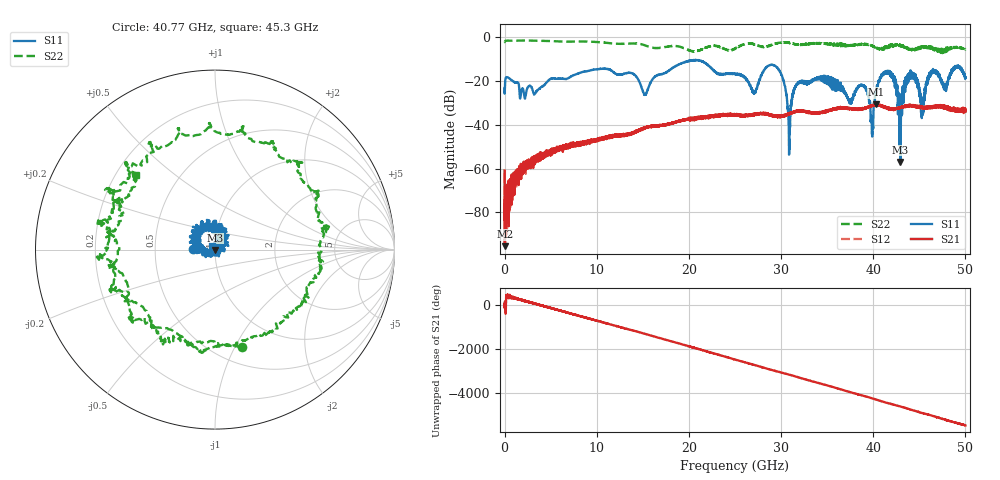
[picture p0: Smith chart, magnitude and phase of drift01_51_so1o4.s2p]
!Created with skrf (http://scikit-rf.org).
# Hz S RI R 50.0
!freq ReS11 ImS11 ReS21 ImS21 ReS12 ImS12 ReS22 ImS22
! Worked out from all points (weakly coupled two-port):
!   10001 points, 300 kHz to 50 GHz, reference 50 ohm
!   highest |S21| = -30.63 dB at 40.35 GHz (marker M1); lowest = -95.4 dB at 25.3 MHz (marker M2)
!   lowest |S11| = -57.0 dB at 42.96 GHz (marker M3), VSWR 1.00, Z = 50 - j0.139 ohm
!   |S11| at or under -10 dB: start of sweep to end of sweep
!   |S22| runs from -7.1 to -1.4 dB; largest |S21 - S12| = 0.0052
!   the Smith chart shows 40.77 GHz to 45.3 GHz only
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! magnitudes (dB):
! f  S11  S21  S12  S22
! 300 kHz  -23.3  -60.9  -62.3  -2.1
! 25.3 MHz  -23.1  -95.4  -76.4  -1.9
! 8.335 GHz  -15.9  -48.3  -48.4  -1.8
! 13.8 GHz  -16.3  -43.5  -43.9  -2.8
! 15.24 GHz  -26.1  -41.5  -41.2  -3.6
! 16.67 GHz  -17.1  -40.6  -40.4  -4.8
! 25 GHz  -16.7  -35.2  -35.6  -5.2
! 27.11 GHz  -25.1  -34.8  -35.3  -3.2
! 29.43 GHz  -13.1  -35.7  -36.3  -2.7
! 30.91 GHz  -44.3  -34.6  -35.0  -2.6
! 31.64 GHz  -22.1  -33.7  -33.9  -3.2
! 33.34 GHz  -20.0  -34.2  -34.3  -2.7
! 37.52 GHz  -28.8  -32.6  -32.6  -3.6
! 38.92 GHz  -22.1  -32.6  -32.6  -3.0
! 39.91 GHz  -40.5  -31.2  -31.2  -3.8
! 40.35 GHz  -24.1  -30.6  -30.9  -4.8
! 41.67 GHz  -16.6  -32.4  -32.5  -4.7
! 42.96 GHz  -57.0  -32.2  -32.0  -4.0
! 44.07 GHz  -18.0  -31.3  -31.1  -5.3
! 45.31 GHz  -35.5  -31.7  -32.2  -4.5
! 46.42 GHz  -16.0  -31.5  -31.8  -4.7
! 50 GHz  -18.3  -34.0  -32.9  -5.5
